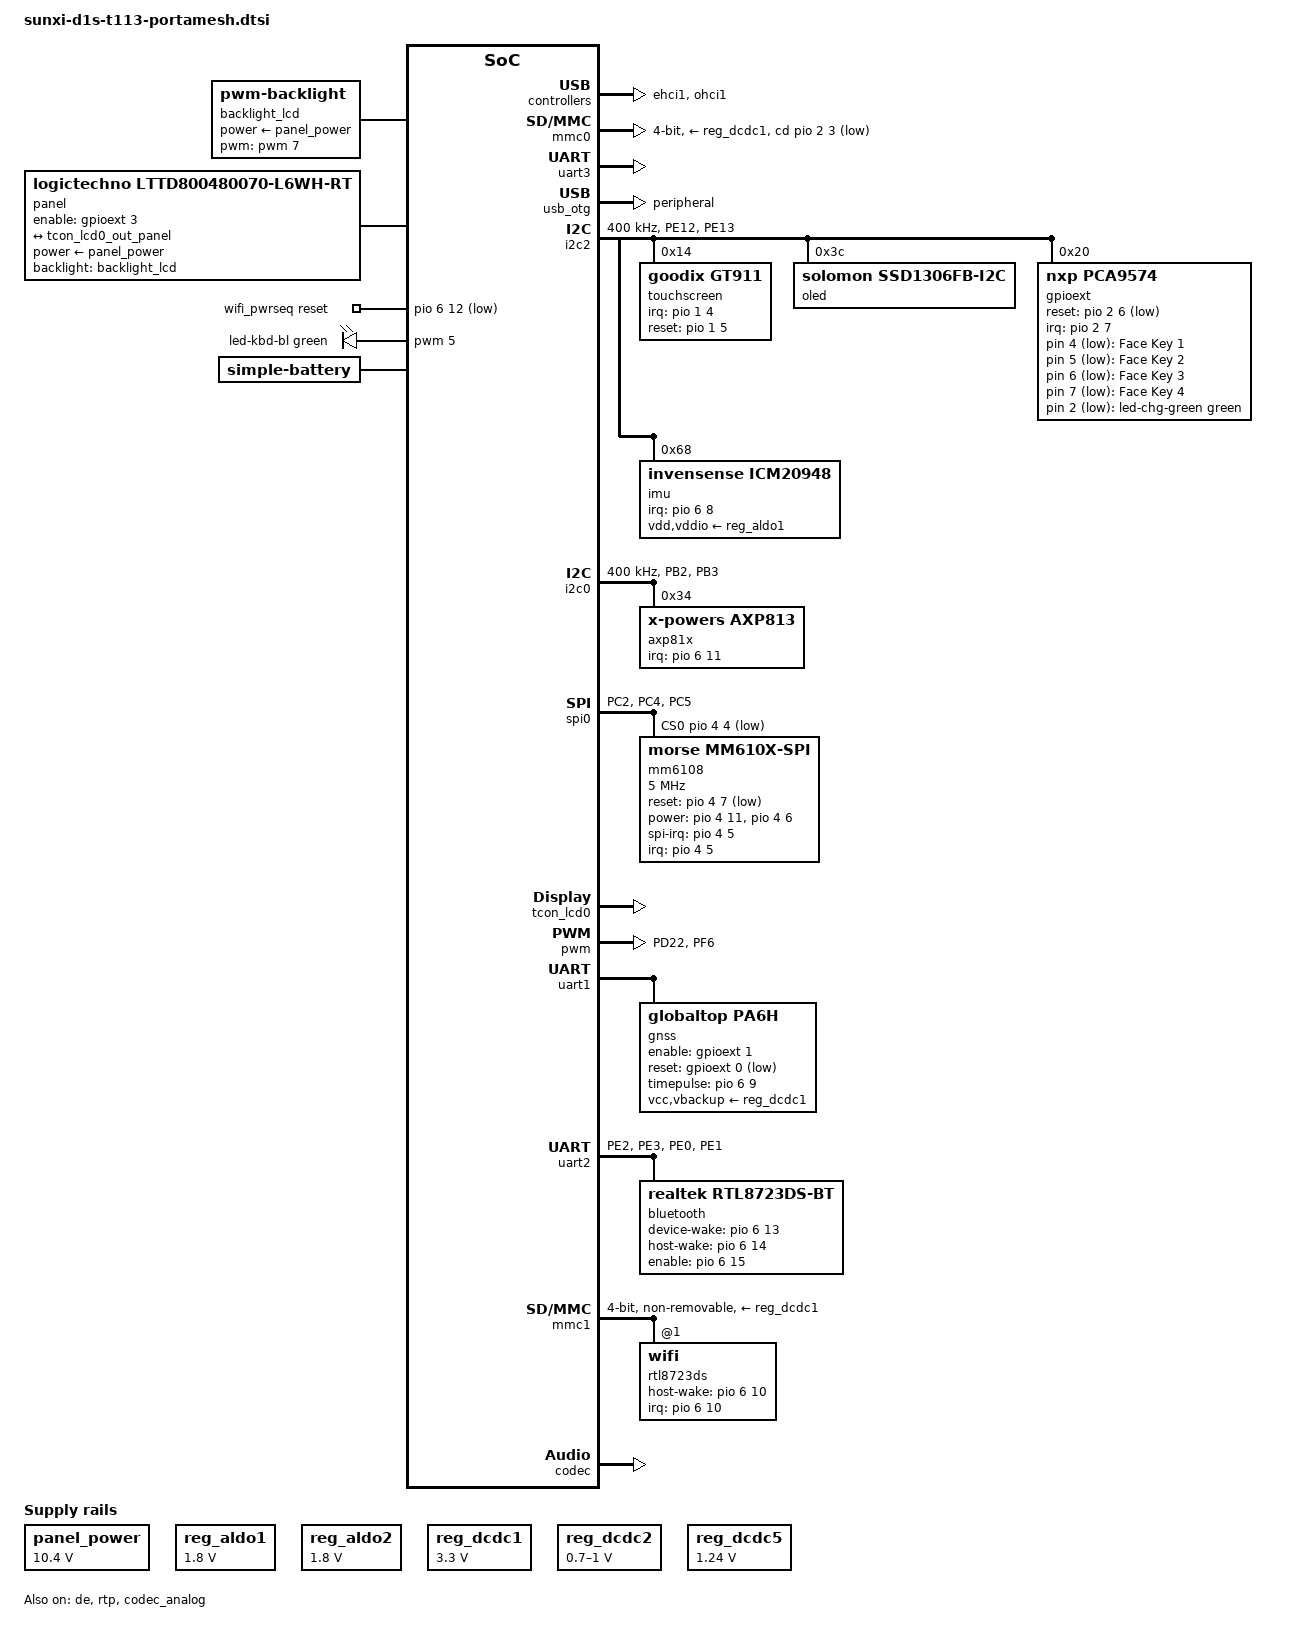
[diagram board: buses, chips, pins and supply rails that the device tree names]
// SPDX-License-Identifier: (GPL-2.0+ OR MIT)
// Copyright (C) 2025 Turion 64 Guy
/*
 * Peripherals and configs for TMR0fr PortaMesh rev.0.
 */

#include <dt-bindings/gpio/gpio.h>
#include <dt-bindings/leds/common.h>
#include <dt-bindings/pwm/pwm.h>

/ {
	aliases {
		serial3 = &uart3;
	};

	chosen {
		stdout-path = "serial3:115200n8";
	};

/*
	///* board wide 5V supply directly from the USB-C socket
	reg_vcc5v: regulator-5v {
		compatible = "regulator-fixed";
		regulator-name = "vcc-5v";
		regulator-min-microvolt = <5000000>;
		regulator-max-microvolt = <5000000>;
		regulator-always-on;
	};

	///* SY8008 DC/DC regulator on the board
	reg_3v3: regulator-3v3 {
		compatible = "regulator-fixed";
		regulator-name = "vcc-3v3";
		regulator-min-microvolt = <3300000>;
		regulator-max-microvolt = <3300000>;
		vin-supply = <&reg_vcc5v>;
	};

	///* SY8008 DC/DC regulator on the board, also supplying VDD-SYS
	reg_vcc_core: regulator-core {
		compatible = "regulator-fixed";
		regulator-name = "vcc-core";
		regulator-min-microvolt = <880000>;
		regulator-max-microvolt = <880000>;
		vin-supply = <&reg_vcc5v>;
	};

        ///* temporary virtual 1.8v regulator
	reg_1v8: regulator-1v8 {
		compatible = "regulator-fixed";
		regulator-name = "vcc-3v3";
		regulator-min-microvolt = <1800000>;
		regulator-max-microvolt = <1800000>;
		vin-supply = <&reg_vcc5v>;
	};
*/
/*
        // Regulateurs
reg_1v8 {
    device-parent = <&reg_aldo1>;
};
reg_3v3 {
    device-parent = <&reg_dcdc1>;
};
reg_vcc_core {
    device-parent = <&reg_dcdc2>;
};
*/

        backlight_lcd:backlight {
		compatible = "pwm-backlight";
		pwms = <&pwm 7 1000000 0>;    // 1.000.000 ns -> 1khz // TODO : augmenter fréquence et voir si changement conso.
		//           ^ ^
		//           | |_period in ns
		//           |_pwm channel
                //pwm-names = "lcd_backlight";
                brightness-levels = <  0   1   1   1   1   2   2   2
                                        2   3   3   3   3   4   4   4
                                        5   5   5   6   6   6   7   7
                                        8   8   8   9   9   9  10  10
                                        10  11  11  12  12  12  13  13
                                        14  14  14  15  15  16  16  17
                                        17  17  18  18  19  19  20  20
                                        21  21  21  22  22  23  23  24
                                        24  25  25  26  26  27  27  28
                                        28  29  30  30  31  31  32  32
                                        33  33  34  35  35  36  36  37
                                        38  38  39  39  40  41  41  42
                                        43  43  44  44  45  46  47  47
                                        48  49  49  50  51  51  52  53
                                        54  54  55  56  57  57  58  59
                                        60  61  61  62  63  64  65  65
                                        66  67  68  69  70  71  71  72
                                        73  74  75  76  77  78  79  80
                                        81  82  83  84  85  86  87  88
                                        89  90  91  92  93  94  95  96
                                        97  98  99 101 102 103 104 105
                                        106 108 109 110 111 112 114 115
                                        116 117 119 120 121 123 124 125
                                        127 128 129 131 132 133 135 136
                                        138 139 141 142 144 145 147 148
                                        150 151 153 154 156 157 159 161
                                        162 164 166 167 169 171 173 174
                                        176 178 180 181 183 185 187 189
                                        191 192 194 196 198 200 202 204
                                        206 208 210 212 214 216 219 221
                                        223 225 227 229 232 234 236 238
                                        241 242 244 246 248 250 253 255>;
		default-brightness-level = <128>;


		power-supply = <&panel_power>;
                /*
                enable-gpios = <&gpio 58 0>;
		post-pwm-on-delay-ms = <10>;
		pwm-off-delay-ms = <10>;
                */
	};

        // revoir ça
        panel_power:panel_power {
                compatible = "regulator-fixed";
                regulator-name = "panel-power";
                regulator-min-microvolt = <10400000>;
                regulator-max-microvolt = <10400000>;
                //gpio = <&pio 7 12 GPIO_ACTIVE_HIGH>; /* PH12 */
                //enable-active-high;
                regulator-always-on;
                regulator-boot-on;
        };

        panel:panel {
                port {
			panel_input: endpoint {
				remote-endpoint = <&tcon_lcd0_out_panel>;
			};
		};
	};

        // Wifi
        wifi_pwrseq: wifi-pwrseq {
            compatible = "mmc-pwrseq-simple";
            reset-gpios = <&pio 6 12 GPIO_ACTIVE_LOW>; //PG12
        };

        // Boutons
        // TODO : marche pas en mode interrupt. Aucun event. Electriquement tout va bien : pullups activées et descent à 0v quand boutons appuyés.
        face_keys: gpio-face-keys {
            //compatible = "gpio-keys"; // charge ok. Marche pas
            compatible = "gpio-keys-polled";
            poll-interval = <10>;  // en ms -> 100hz
            //autorepeat;
            status = "disabled";
        };

        leds-pwm {
            compatible = "pwm-leds";

            // LEDs rétroéclairage touches à coté de l'écran
            led-kbd-bl {
                //label = "button-backlight"; // TODO : essayer de trouver un meilleur nom : https://www.kernel.org/doc/Documentation/leds/well-known-leds.txt
                color = <LED_COLOR_ID_GREEN>;   // TODO : changer en blanc si led blanche
                function = LED_FUNCTION_KBD_BACKLIGHT;
                pwms = <&pwm 5 10000 0>;    // 10.000 ns -> 100khz    // TODO : fréquence choisie au hasard. Voir si meilleur choix
                max-brightness = <255>;
                default-brightness-level = <128>;
                //default-state = "on";
            };

            // TODO : led rgb
        };

        leds {
            compatible = "gpio-leds";

            // Partie verte de la LED bicolore à coté du port USB. La partie rouge est controlée par le PMIC. (sensée indiquer la charge...)
            // NOTE : LED sur expander GPIO I2C -> changement lent et pas de PWM.
            led-chg-green {
                color = <LED_COLOR_ID_GREEN>;
                gpios = <&gpioext 2 GPIO_ACTIVE_LOW>;
                linux,default-trigger = "heartbeat";
                function = LED_FUNCTION_STATUS;//LED_FUNCTION_HEARTBEAT;
            };

            // TODO : led charge pmic
        };

        // Battery
        // Doit être ici, car définition d'un nouveau noeud.
        // J'aimerais idéalement qu'elle soit au niveau du PMIC
        // TODO : revoir valeurs : courant charge. Température charge. overvolt thr. precharge. recharge thr...
        // https://www.kernel.org/doc/Documentation/devicetree/bindings/power/supply/battery.yaml
        battery: battery {
            compatible = "simple-battery";
            device-chemistry = "lithium-ion";           // Il faudrait préciser, mais franchement je sais pas ce que les chinois ont mis dans la batterie qu'on a.
            voltage-min-design-microvolt = <3000000>;   // les régulateurs du AXP81x ne sont que des buck,
                                                        // donc si on descend en dessous de 3.3v à la batterie, le rail 3.3v descend aussi. Et on veut limiter ça.
                                                        // J'ai testé et en charge, à <3.1v ça déconne (rétroéclairage qui scintille, etc...). Et à 3.047000V ça s'est éteint brutalement
                                                        // à 380mA, il s'est passé moins de 5 minutes entre 3.1v et 3v, donc autant s'éteindre à 3.1v et que ça ne crash pas brutalement à 3v.
                                                        // NOTE : ce n'est pas le BMS de la batterie qui s'est éteint, c'est le PMIC qui a choisi. Est-ce qu'il s'est éteint parce qu'il
                                                        // n'arrivait plus à tenir les tensions de sortie, où parce que j'ai mis ce paramètre à 3v et que la tension à atteint 3v ?
                                                        // Après mesure (avec multimètre) à vide, la batterie est à 3.2v, mais à 3v en décharge à 380mA (mesurée par le PMIC)
                                                        // Donc la résistance interne de cette batterie chinoise merdique est ENORME. ça où le layout de la PCB...
                                                        // Du coup je laisse à 3v pour l'instant.
            voltage-max-design-microvolt = <4200000>;
            energy-full-design-microwatt-hours = <7400000>; // ( 3.7v * 2 Ah ) * 10^6   // TODO : changer à 4 Ah quand on aura les bonnes batteries
            constant-charge-current-max-microamp = <1200000>;   // courant de charge max de 1.2A. Choisi au doigt mouillé.
                                                                // Aussi parce que courant de base choisi par AXP813 avant qu'on ajoute ça au device tree et ma batterie n'as pas explosée.
                                                                // changer à 2.4 quand on aura les 2 batteries.
        };

};

&dcxo {
	clock-frequency = <24000000>;
};

&ehci1 {
	status = "okay";
};

// SD
&mmc0 {
	pinctrl-0 = <&mmc0_pins>;
	pinctrl-names = "default";
	vmmc-supply = <&reg_dcdc1>;
	cd-gpios = <&pio 2 3 GPIO_ACTIVE_LOW>; // PC3
	disable-wp;
	bus-width = <4>;
        max-frequency = <150000000>;  // NOTE : supposé être à 1.8v alors que notre éléctronique est bloquée à 3.3v
        //no-1-8-v;
        cap-sd-highspeed;
        sd-uhs-sdr50;
        sd-uhs-sdr104;      // NOTE : ça il sait pas le faire à 3.3v, mais on verra bien si ça marche
        sd-uhs-ddr50;

	status = "okay";
};

&ohci1 {
	status = "okay";
};

&pio {
        // TODO: changer alims
	/*vcc-pb-supply = <&reg_dcdc1>;
	vcc-pd-supply = <&reg_dcdc1>;
	vcc-pe-supply = <&reg_dcdc1>;
	vcc-pf-supply = <&reg_dcdc1>;
	vcc-pg-supply = <&reg_dcdc1>;*/
        // pwm rétroéclairage LCD
        pwm7_pin: pwm7-pin {
            pins = "PD22";
            function = "pwm7";
        };
        // pwm rétroéclairage boutons/keypad
        pwm5_pin: pwm5-pin {
            pins = "PF6";
            function = "pwm5";
        };
        // I2C2 pour OLED, IMU, digitizer CTP écran LCD, GPIO extender
        i2c2_pins: i2c2-pins {
            pins = "PE12", "PE13";
            function = "i2c2";
        };

        // I2C1 pour PMIC AXP813
        i2c0_pins: i2c0-pins {
            pins = "PB2", "PB3";
            function = "i2c0";
        };
        // Pour LoRa
        spi0_pins: spi0-pins {
                pins = "PC2", "PC4", "PC5";
                function = "spi0";
        };
        // pour module Bluetooth
        uart2_pe2_pins: uart2-pe2-pins {
            pins = "PE2", "PE3";
            function = "uart2";
        };
        uart2_pe0_rts_cts_pins: uart2-pe0-rts-cts-pins {
            pins = "PE0", "PE1";
            function = "uart2";
        };

        /*
        gt911_irq_pin: gt911-irq-pin {
            pins = "PB3";
            function = "irq";
        };

        gt911_reset_pin: gt911-reset-pin {
            pins = "PB2";
            function = "gpio_out";
        };
        */
};

// console
&uart3 {
	pinctrl-names = "default";
	pinctrl-0 = <&uart3_pb_pins>;
	status = "okay";
};

/* The USB-C socket has its CC pins pulled to GND, so is hardwired as a UFP. */
&usb_otg {
	dr_mode = "peripheral";
	status = "okay";
};

/*
 * USB1 non connexté sur PCB rev0
&usbphy {
	usb1_vbus-supply = <&reg_vcc5v>;
	status = "okay";
};
*/

// I2C
&i2c2 {
    pinctrl-names = "default";
    pinctrl-0 = <&i2c2_pins>;
    status = "okay";
    clock-frequency = <400000>; // apparently the gt911 onyl works reliably at 400khz. (and more ?)
    // NOTE : vvv i don't think this should be here
    #address-cells = <1>;
    #size-cells = <0>;
    // capacitive touchscreen
    touchscreen@14 {
        //pinctrl-names = "default";
        //pinctrl-0 = <&gt911_irq_pin>, <&gt911_reset_pin>;
        compatible = "goodix,gt911";
        reg = <0x14>;
        interrupt-parent = <&pio>;
        interrupts = <1 4 IRQ_TYPE_EDGE_RISING>;    // PB 4
        irq-gpios = <&pio 1 4 GPIO_ACTIVE_HIGH>;    // PB 4
        reset-gpios = <&pio 1 5 GPIO_ACTIVE_HIGH>;  // PB 5 // ACTIVE HIGH ???
    };
    // small I2C OLED
    oled: ssd1306_i2c@3c {
        compatible = "solomon,ssd1306fb-i2c";
        reg = <0x3c>;
        solomon,height = <32>;
        solomon,width = <128>;
        solomon,com-seq;
        solomon,com-invdir;
        solomon,page-offset = <0>;
        solomon,prechargep1 = <2>;
        solomon,prechargep2 = <13>;
    };
    // GPIO extender
    gpioext: gpio@20 {
        compatible = "nxp,pca9574";
        reg = <0x20>;
        gpio-controller;
        #gpio-cells = <2>;
        interrupt-controller;
        #interrupt-cells = <2>;
        interrupt-parent = <&pio>;
        interrupts = <2 7 IRQ_TYPE_EDGE_FALLING>;   // PC 7
        reset-gpios = <&pio 2 6 GPIO_ACTIVE_LOW>;   // PC 6
        gpio-line-names =   "gps-reset_n", "gps-pwron", "chgled-green", "lcd-en",
                            "user-btn1_n", "user-btn2_n", "user-btn3_n", "user-btn4_n";
    };
    // IMU
    // TODO : add driver https://github.com/marcinbis/icm20948-mod
    imu: icm20948@68 {
        compatible = "invensense,icm20948";
        reg = <0x68>;
        interrupt-parent = <&pio>;
        interrupts = <6 8 IRQ_TYPE_EDGE_FALLING>;     // PG 8
        vdd-supply = <&reg_aldo1>;
        vddio-supply = <&reg_aldo1>;
    };

};

// PMIC AXP813
&i2c0 {
    pinctrl-names = "default";
    pinctrl-0 = <&i2c0_pins>;
    status = "okay";
    clock-frequency = <400000>; // oled go fast
    #address-cells = <1>;
    #size-cells = <0>;

    axp81x: pmic@34 {  // NOTE : nom axp81x obligé parce que référencén dans axp81x.dtsi, que l'on inclus après
        compatible = "x-powers,axp813";
        reg = <0x34>;
        // Les "gros" CPUs/AP allwinner inrègrent un CPU de "gestion" : AR100. Celui-ci gère la mise en veille du CPU, etc...
        // Le pin INT du PMIC/RTC semble normalement connecté au pin "NMI" du CPU, qui est également partagé avec l'AR100
        // Ainsi, les interruptions sont souvent confirgurées telles que :
        //      interrupt-parent = <&r_intc>;
        //      interrupts = <GIC_SPI 32 IRQ_TYPE_LEVEL_LOW>;   // ou  <0 IRQ_TYPE_LEVEL_LOW>;
        // r_intc étant le coontrôleur d'interrupt partagé entre ARM et AR100 ? --> https://linux-sunxi.org/INTC
        // Le t113-S3 n'intègre pas de CPU de gestion (AR100), l'interrupt du PMIC est donc connectée à un GPIO "normal" : PG11
        // Cela veut également dire que les interruptions du PMIC sont masquables puisqu'on a pas vraiment de NMI.
        // TODO : voir si le DSP du t113-s3 ne pourrait pas prendre le rôle du AR100. ?
        interrupt-parent = <&pio>;
        interrupts = <6 11 IRQ_TYPE_LEVEL_LOW>; // PG 11
        /*  On utilise pas ces régulateurs et on les alimente avec PMIC_PS / IPSOUT. Mais je regarde ça pour pas oublier que ça existe.
        eldoin-supply = <&reg_dcdc1>;
        fldoin-supply = <&reg_dcdc5>;
        swin-supply = <&reg_dcdc1>;
        */
        //x-powers,drive-vbus-en;   // on a pas d'USB OTG pour l'instant sur la rev.0 du hw.
    };
};


// ----- PMIC ZONE

#include "allwinner/axp81x.dtsi"

// --- POWER SOURCES

&ac_power_supply {
    status = "okay";
};

// https://www.kernel.org/doc/Documentation/devicetree/bindings/power/supply/x-powers%2Caxp20x-battery-power-supply.yaml
&battery_power_supply {
    x-powers,no-thermistor = "false"; // on a une thermistance (de 10k)
    monitored-battery = <&battery>;
    status = "okay";
};

// --- LDOs

&reg_aldo1 {
    /* Alimente les périphériques 1.8v, tels que l'IMU
     */
	regulator-always-on;
	regulator-min-microvolt = <1800000>;
	regulator-max-microvolt = <1800000>;
	regulator-name = "reg_1v8";
};

&reg_aldo2 {
    /* Alimente le contrôleur de DRAM interne au CPU. 1.8v fixe
     */
	regulator-always-on;
	regulator-min-microvolt = <1800000>;
	regulator-max-microvolt = <1800000>;
	regulator-name = "dram-pll";
};

// LDO RTC Always ON

&reg_rtc_ldo {
	regulator-name = "vcc-rtc";
};

// --- DCDCs

&reg_dcdc1 {
    /* Alimente tout ce qui est en 3.3v.
     * Liste non exhaustive :
     * - WIFI/BT
     * - Radio LORA SX1262
     * - I/O CPU
     * - SD
     * - GPIOEXT
     * - LEDs
     * - PULLUPs Boutons
     * - LCD
     * - Flyback LCD (selon choix jumper R63/R65. Sinon alimenté par IPSOUT)
     * - GPS (indirectement car son 3.3v est ensuite switché localement par un FET)
     * - PULLUP interrupt PMIC/RTC
     *
     * Utilisé comme régulateur 3.3v fixe.
     */
    regulator-always-on;
    regulator-min-microvolt = <3300000>;
    regulator-max-microvolt = <3300000>;
    regulator-name = "reg_3v3";
};

&reg_dcdc2 {
    /* Alimente le CPU : CPU0, CPU1 ; SYS0, SYS1, SYS2
     * Range tensions non décrit dans le datasheet du T113-s3. Seulement 0.9v
     * En fait si, décrit dans datasheet v1.9 : 0.85v à 0.99v. Mais d'expérience ça tourne pas à 0.85v
     * ça vaudrait le coup de reessayer depuis que la clock-latency à été ajoutée, car ça à l'air d'aider énormément avec la stabilité.
     * Contrôlé par DVFS. On a choisi 0.7v à 1v de manière arbitraire.
     */
	regulator-always-on;
	regulator-min-microvolt = <700000>;
	regulator-max-microvolt = <1000000>;
	regulator-name = "reg_vcc_core";
};

&reg_dcdc5 {
    /* Alimente la DRAM (interne au CPU)
     * 1.24v fixe. Devrait être 1.25, mais PMIC a pas l'air d'accepter.
     * On peut surement déscendre un peu, si la freq mémoire est basse. Voir même faire du DVFS
     * Le datasheet v1.9 mentionne 1.5v mais ça doit être un erreur. En tout cas ça à l'air de bien marcher à 1.24v
     */
	regulator-always-on;
	regulator-min-microvolt = <1240000>;
	regulator-max-microvolt = <1240000>;
	regulator-name = "vcc-dram";
};


// ----- END OF PMIC ZONE


&spi0 {
	pinctrl-names = "default";
	pinctrl-0 = <&spi0_pins>;
	status = "okay";
//  #address-cells = <1>;
//  #size-cells   = <0>;
	cs-gpios = <&pio 4 4 GPIO_ACTIVE_LOW> ; // chip select = PE4
	mm6108@0 {
	    compatible = "morse,mm610x-spi";
        reg = <0>;                                // PE4
        reset-gpios = <&pio 4 7 GPIO_ACTIVE_LOW>; // PE7
        power-gpios = <&pio 4 11 GPIO_ACTIVE_HIGH>, // WAKE = PE11
                      <&pio 4 6 GPIO_ACTIVE_HIGH>;  // BUSY = PE6
        interrupt-parent = <&pio>;
        interrupts = <4 5 IRQ_TYPE_EDGE_RISING>;    // PE5
        spi-irq-gpios = <&pio 4 5 GPIO_ACTIVE_HIGH>;// PE5
        spi-max-frequency = <5000000>;
        status = "okay";
    };
};


/* video */

&de {
	status = "okay";
};

&tcon_lcd0 {
	pinctrl-names = "default";
	pinctrl-0 = <&lcd_rgb666_pins>;
	status = "okay";
};

&tcon_lcd0_out {
	tcon_lcd0_out_panel: endpoint@0 {
		reg = <0>;
		remote-endpoint = <&panel_input>;
	};
};

// NOTE : le PWM n'est pas supporté pour sun20i. Un patch existe dans le mailing list du kernel, et est normalement appliqué par buildroot
//        Le patch se trouve dans le dossier "board/tmr0fr/portamesh_t113/patch/linux/".
&pwm {
      pinctrl-names = "default";
      pinctrl-0 = <&pwm7_pin>,   // PD22
                  <&pwm5_pin>;   // PF6
      status = "okay";
};

&panel {
        compatible = "logictechno,lttd800480070-l6wh-rt", "simple-panel";
        power-supply = <&panel_power>;
        backlight = <&backlight_lcd>;
        enable-gpios = <&gpioext 3 GPIO_ACTIVE_HIGH>; // TODO : remplacer par son nom
};

// resistive touch screen
&rtp {
        allwinner,tp-sensitive-adjust = <0xf>;
        allwinner,filter-type = <0x1>;
        allwinner,ts-attached;
        status = "okay";
};

// GPS
// GNSS géré par noyau Linux. Fait apparaitre un character device /dev/gnss0
// qui sort les message NMEA
// GPS sur UART1 : PG6 PG7
//         PPS : PG9
//         RESET et POWERON sur GPIO extender
&uart1 {
    pinctrl-names = "default";
    pinctrl-0 = <&uart1_pg6_pins>;
    status = "okay";
    gnss {
        compatible = "globaltop,pa6h";  // const for mediatek GNSS

        vcc-supply = <&reg_dcdc1>;
        vbackup-supply = <&reg_dcdc1>;

        enable-gpios = <&gpioext 1 GPIO_ACTIVE_HIGH>; // TODO : remplacer par son nom
        reset-gpios = <&gpioext 0 GPIO_ACTIVE_LOW>; // TODO : remplacer par son nom
        timepulse-gpios = <&pio 6 9 GPIO_ACTIVE_HIGH>; // PG 9

        current-speed = <9600>;
    };
};

// Bluetooth
// Intégré dans module SDIO Fn-Link 6223A-SRD
// Utilise le chipset RTL8723ds. La partie BT communique en UART
// Connecté sur UART2 : PE2 PE3
//      avec RTS/CTS  : PE0 PE1
//      DEVICE WAKE   : PG13
//      HOST WAKE     : PG14
//      ENABLE/nRESET : PG15
&uart2 {
    pinctrl-names = "default";
    pinctrl-0 = <&uart2_pe2_pins>, <&uart2_pe0_rts_cts_pins>;
    uart-has-rtscts;
    status = "okay";

    bluetooth {
        compatible = "realtek,rtl8723ds-bt";
        device-wake-gpios = <&pio 6 13 GPIO_ACTIVE_HIGH>; /* PG 13 */
        host-wake-gpios = <&pio 6 14 GPIO_ACTIVE_HIGH>; /* PG 14 */
        enable-gpios = <&pio 6 15 GPIO_ACTIVE_HIGH>; /* PG 15 */
    };
};


// Wifi

&mmc1 {
    pinctrl-names = "default";
    pinctrl-0 = <&mmc1_pins>;
    vmmc-supply = <&reg_dcdc1>;
    mmc-pwrseq = <&wifi_pwrseq>;
    non-removable;

    bus-width = <4>;
    max-frequency = <150000000>;  // NOTE : supposé être à 1.8v alors que notre éléctronique est bloquée à 3.3v
    no-1-8-v;
    cap-sd-highspeed;
    sd-uhs-sdr50;
    sd-uhs-sdr104;      // NOTE : ça il sait pas le faire à 3.3v, mais on verra bien si ça marche
    sd-uhs-ddr50;
    status = "okay";

    rtl8723ds: wifi@1 {
        // TODO : finir définition interface (vitesses, suspend, interrupts, wake, ...)
        reg = <1>;
        host-wake-gpios = <&pio 6 10 GPIO_ACTIVE_HIGH>; /* PG 10 */ // <-- pas sûr que ce soit nécéssaire, en fait...
        interrupt-parent = <&pio>;
        interrupts = <6 10 IRQ_TYPE_LEVEL_HIGH>; /* PG10 */
        interrupt-names = "host-wake";
    };
};

&face_keys {
    // Boutons en facade
    // Pour l'instant, les touches n'ont pas de rôle défini, donc on leur donne un keycode réservé pour les macros...
    // https://github.com/torvalds/linux/blob/master/include/uapi/linux/input-event-codes.h#L694
    status = "okay";
    face-key1 {
            label = "Face Key 1";
            //linux,code = <0x290>;
            linux,code = <102>; // home
            gpios = <&gpioext 4 (GPIO_ACTIVE_LOW | GPIO_PULL_UP)>;
            //interrupt-parent = <&gpioext>;
            //interrupts = <4 IRQ_TYPE_LEVEL_LOW>;
    };

    face-key2 {
            label = "Face Key 2";
            //linux,code = <0x291>;
            linux,code = <158>; // back
            gpios = <&gpioext 5 (GPIO_ACTIVE_LOW | GPIO_PULL_UP)>;
            //interrupt-parent = <&gpioext>;
            //interrupts = <5 IRQ_TYPE_LEVEL_LOW>;
    };

    face-key3 {
            label = "Face Key 3";
            //linux,code = <0x292>;
            linux,code = <0x160>; // ok
            gpios = <&gpioext 6 (GPIO_ACTIVE_LOW | GPIO_PULL_UP)>;
            //interrupt-parent = <&gpioext>;
            //interrupts = <6 IRQ_TYPE_LEVEL_LOW>;
    };

    face-key4 {
            label = "Face Key 4";
            //linux,code = <0x293>;
            linux,code = <15>; // tab
            gpios = <&gpioext 7 (GPIO_ACTIVE_LOW | GPIO_PULL_UP)>;
            //interrupt-parent = <&gpioext>;
            //interrupts = <7 IRQ_TYPE_LEVEL_LOW>;
        };
};

&codec {
    status = "okay";
    allwinner,audio-routing =
    "Headphone", "HP",
    "MIC3", "Mic",
    "MIC3", "MBIAS";
};

&codec_analog {
    status = "okay";
};
